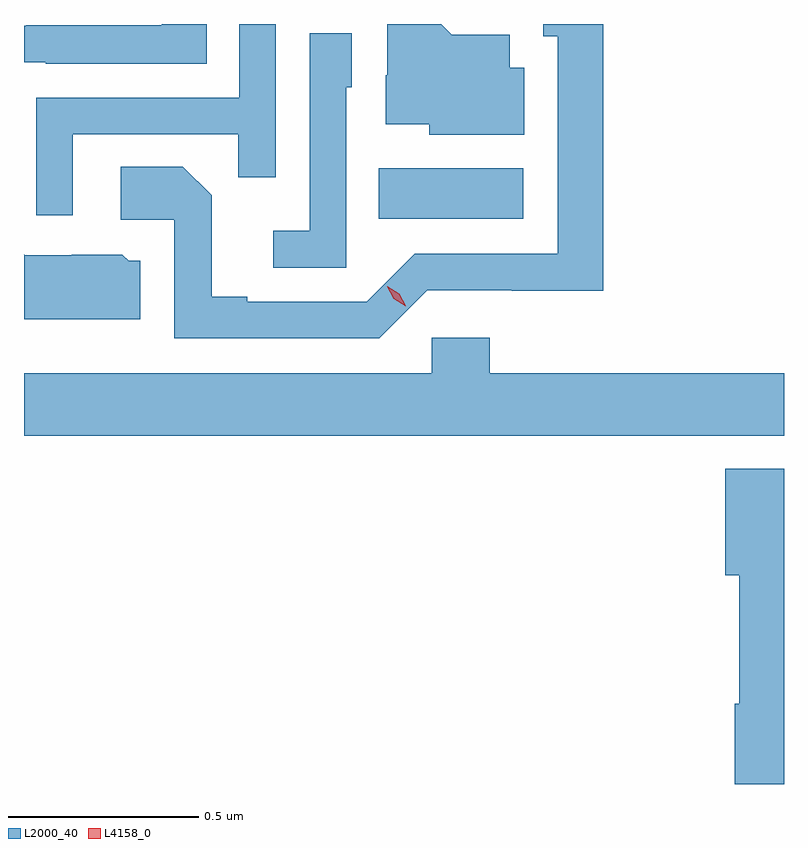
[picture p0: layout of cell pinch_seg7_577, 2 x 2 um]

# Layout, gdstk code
import gdstk
lib = gdstk.Library(unit=1e-6, precision=1e-09)
def R(c, l, rs):  # rectangles x0, y0, x1, y1
    for r in rs: c.add(gdstk.rectangle(r[:2], r[2:], *l))
def P(c, l, *ps):  # polygons
    for p in ps: c.add(gdstk.Polygon(p, *l))
L2000_40 = (2000, 40)
L4158_0 = (4158, 0)

pinch_seg7_577 = lib.new_cell('pinch_seg7_577')
R(pinch_seg7_577, L2000_40, [(171.778,1057.13,172.159,1057.264)])
P(pinch_seg7_577, L2000_40, [(171.326,1057.643),(171.208,1057.643),(171.208,1057.64),(170.851,1057.64),(170.851,1057.639),(170.845,1057.639),(170.845,1057.542),(170.902,1057.542),(170.902,1057.539),(171.326,1057.539)],
  [(171.906,1056.942),(172.128,1056.942),(172.128,1056.941),(172.369,1056.941),(172.369,1057.643),(172.211,1057.643),(172.211,1057.611),(172.25,1057.611),(172.25,1057.038),(171.873,1057.038),(171.747,1056.912),(171.433,1056.912),(171.433,1056.925),(171.339,1056.925),(171.339,1057.192),(171.263,1057.268),(171.099,1057.268),(171.099,1057.128),(171.24,1057.128),(171.24,1056.816),(171.78,1056.816)],
  [(170.973,1057.353),(171.409,1057.353),(171.409,1057.24),(171.507,1057.24),(171.507,1057.643),(171.411,1057.643),(171.411,1057.449),(170.877,1057.449),(170.877,1057.14),(170.973,1057.14)],
  [(172.162,1057.528),(172.123,1057.528),(172.123,1057.615),(171.971,1057.615),(171.943,1057.643),(171.801,1057.643),(171.801,1057.508),(171.797,1057.508),(171.797,1057.379),(171.912,1057.379),(171.912,1057.352),(172.162,1057.352)],
  [(171.693,1057.476),(171.708,1057.476),(171.708,1057.619),(171.597,1057.619),(171.597,1057.099),(171.501,1057.099),(171.501,1057.002),(171.693,1057.002)],
  [(171.151,1057.02),(171.12,1057.02),(171.104,1057.036),(170.97,1057.036),(170.97,1057.035),(170.847,1057.035),(170.845,1057.037),(170.845,1056.866),(171.151,1056.866)],
  [(172.845,1056.724),(172.07,1056.724),(172.07,1056.817),(171.918,1056.817),(171.918,1056.724),(170.845,1056.724),(170.845,1056.56),(172.845,1056.56)],
  [(172.845,1056.472),(172.691,1056.472),(172.691,1056.192),(172.727,1056.192),(172.727,1055.854),(172.715,1055.854),(172.715,1055.643),(172.845,1055.643)])
P(pinch_seg7_577, L4158_0, [(171.85,1056.9),(171.818,1056.92),(171.801,1056.952),(171.801,1056.953),(171.801,1056.953),(171.833,1056.933),(171.85,1056.901),(171.85,1056.9)])

lib.write_gds('pinch_seg7_577.gds')
